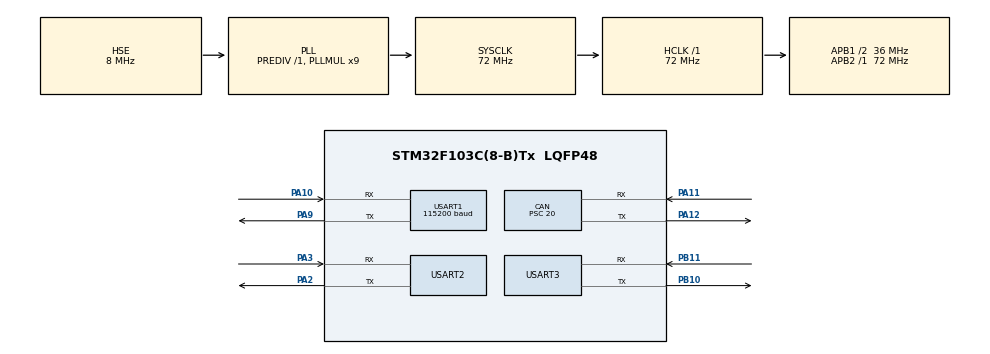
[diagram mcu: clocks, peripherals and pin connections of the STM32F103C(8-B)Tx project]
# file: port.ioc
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CAN.BS1=CAN_BS1_4TQ
CAN.BS2=CAN_BS2_4TQ
CAN.CalculateBaudRate=200000
CAN.CalculateTimeBit=5000
CAN.CalculateTimeQuantum=555.5555555555555
CAN.Mode=CAN_MODE_NORMAL
CAN.Prescaler=20
Dma.Request0=USART1_RX
Dma.Request1=USART2_RX
Dma.Request2=USART3_RX
Dma.USART1_RX.0.Direction=DMA_PERIPH_TO_MEMORY
Dma.USART1_RX.0.Instance=DMA1_Channel5
Dma.USART1_RX.0.MemDataAlignment=DMA_MDATAALIGN_BYTE
Dma.USART1_RX.0.MemInc=DMA_MINC_ENABLE
Dma.USART1_RX.0.Mode=DMA_NORMAL
Dma.USART1_RX.0.PeriphDataAlignment=DMA_PDATAALIGN_BYTE
Dma.USART1_RX.0.PeriphInc=DMA_PINC_DISABLE
Dma.USART1_RX.0.Priority=DMA_PRIORITY_LOW
Dma.USART2_RX.1.Direction=DMA_PERIPH_TO_MEMORY
Dma.USART2_RX.1.Instance=DMA1_Channel6
Dma.USART2_RX.1.MemDataAlignment=DMA_MDATAALIGN_BYTE
Dma.USART2_RX.1.MemInc=DMA_MINC_ENABLE
Dma.USART2_RX.1.Mode=DMA_NORMAL
Dma.USART2_RX.1.PeriphDataAlignment=DMA_PDATAALIGN_BYTE
Dma.USART2_RX.1.PeriphInc=DMA_PINC_DISABLE
Dma.USART2_RX.1.Priority=DMA_PRIORITY_LOW
Dma.USART3_RX.2.Direction=DMA_PERIPH_TO_MEMORY
Dma.USART3_RX.2.Instance=DMA1_Channel3
Dma.USART3_RX.2.MemDataAlignment=DMA_MDATAALIGN_BYTE
Dma.USART3_RX.2.MemInc=DMA_MINC_ENABLE
Dma.USART3_RX.2.Mode=DMA_NORMAL
Dma.USART3_RX.2.PeriphDataAlignment=DMA_PDATAALIGN_BYTE
Dma.USART3_RX.2.PeriphInc=DMA_PINC_DISABLE
Dma.USART3_RX.2.Priority=DMA_PRIORITY_LOW
Mcu.Family=STM32F1
Mcu.Name=STM32F103C(8-B)Tx
Mcu.Package=LQFP48
NVIC.DMA1_Channel3_IRQn=true\:0\:0\:false\:false\:true\:false\:true\:true
NVIC.DMA1_Channel5_IRQn=true\:0\:0\:false\:false\:true\:false\:true\:true
NVIC.DMA1_Channel6_IRQn=true\:0\:0\:false\:false\:true\:false\:true\:true
NVIC.PriorityGroup=NVIC_PRIORITYGROUP_4
NVIC.TIM3_IRQn=true\:0\:0\:false\:false\:true\:true\:true\:true
NVIC.USART1_IRQn=true\:0\:0\:false\:false\:true\:true\:true\:true
NVIC.USART2_IRQn=true\:0\:0\:false\:false\:true\:true\:true\:true
NVIC.USART3_IRQn=true\:0\:0\:false\:false\:true\:true\:true\:true
NVIC.USB_LP_CAN1_RX0_IRQn=true\:0\:0\:false\:false\:true\:true\:true\:true
PA10.Mode=Asynchronous
PA10.Signal=USART1_RX
PA11.GPIO_PuPd=GPIO_PULLUP
PA11.Mode=CAN_Activate
PA11.Signal=CAN_RX
PA12.Mode=CAN_Activate
PA12.Signal=CAN_TX
PA13.Mode=Trace_Asynchronous_SW
PA13.Signal=SYS_JTMS-SWDIO
PA14.Mode=Trace_Asynchronous_SW
PA14.Signal=SYS_JTCK-SWCLK
PA2.Mode=Asynchronous
PA2.Signal=USART2_TX
PA3.Mode=Asynchronous
PA3.Signal=USART2_RX
PA9.Mode=Asynchronous
PA9.Signal=USART1_TX
PB10.Mode=Asynchronous
PB10.Signal=USART3_TX
PB11.Mode=Asynchronous
PB11.Signal=USART3_RX
PB3.Mode=Trace_Asynchronous_SW
PB3.Signal=SYS_JTDO-TRACESWO
PC14-OSC32_IN.Mode=LSE-External-Oscillator
PC14-OSC32_IN.Signal=RCC_OSC32_IN
PC15-OSC32_OUT.Mode=LSE-External-Oscillator
PC15-OSC32_OUT.Signal=RCC_OSC32_OUT
PD0-OSC_IN.Mode=HSE-External-Oscillator
PD0-OSC_IN.Signal=RCC_OSC_IN
PD1-OSC_OUT.Mode=HSE-External-Oscillator
PD1-OSC_OUT.Signal=RCC_OSC_OUT
ProjectManager.HeapSize=0x200
ProjectManager.StackSize=0x400
ProjectManager.TargetToolchain=MDK-ARM V5
RCC.AHBFreq_Value=72000000
RCC.APB1CLKDivider=RCC_HCLK_DIV2
RCC.APB1Freq_Value=36000000
RCC.APB1TimFreq_Value=72000000
RCC.APB2Freq_Value=72000000
RCC.APB2TimFreq_Value=72000000
RCC.HCLKFreq_Value=72000000
RCC.PLLMUL=RCC_PLL_MUL9
RCC.PLLSourceVirtual=RCC_PLLSOURCE_HSE
RCC.SYSCLKFreq_VALUE=72000000
RCC.SYSCLKSource=RCC_SYSCLKSOURCE_PLLCLK
RCC.USBFreq_Value=72000000
TIM3.Period=1000
TIM3.Prescaler=72
USART1.BaudRate=115200
USART1.VirtualMode=VM_ASYNC
USART2.VirtualMode=VM_ASYNC
USART3.VirtualMode=VM_ASYNC
VP_TIM3_VS_ClockSourceINT.Mode=Internal
board=custom

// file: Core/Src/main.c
/* USER CODE BEGIN Header */
/**
  ******************************************************************************
  * @file           : main.c
  * @brief          : Main program body
  ******************************************************************************
  * @attention
  *
  * Copyright (c) 2026 STMicroelectronics.
  * All rights reserved.
  *
  * This software is licensed under terms that can be found in the LICENSE file
  * in the root directory of this software component.
  * If no LICENSE file comes with this software, it is provided AS-IS.
  *
  ******************************************************************************
  */
/* USER CODE END Header */
#include "main.h"

/* USER CODE BEGIN Includes */
#include "stdio.h"
#include "stdlib.h"
#include "math.h"
#include "sonar.h"
/* USER CODE END Includes */

CAN_HandleTypeDef hcan;

TIM_HandleTypeDef htim3;

UART_HandleTypeDef huart1;
UART_HandleTypeDef huart2;
UART_HandleTypeDef huart3;
DMA_HandleTypeDef hdma_usart1_rx;
DMA_HandleTypeDef hdma_usart2_rx;
DMA_HandleTypeDef hdma_usart3_rx;

void SystemClock_Config(void);
static void MX_GPIO_Init(void);
static void MX_DMA_Init(void);
static void MX_CAN_Init(void);
static void MX_USART1_UART_Init(void);
static void MX_USART2_UART_Init(void);
static void MX_USART3_UART_Init(void);
static void MX_TIM3_Init(void);

/* USER CODE BEGIN 0 */

#define uart2_buffer_size 64
uint8_t uart2_rx_buffer[uart2_buffer_size]={0};
#define uart3_buffer_size 64
uint8_t uart3_rx_buffer[uart3_buffer_size]={0};
void UART2_IT(void)
{
    // ????
    if (__HAL_UART_GET_FLAG(&huart2, UART_FLAG_IDLE))
    {
        __HAL_UART_CLEAR_IDLEFLAG(&huart2);
        // ? DMA,???
        HAL_UART_DMAStop(&huart2);
        uint16_t len = uart2_buffer_size- __HAL_DMA_GET_COUNTER(huart2.hdmarx);
				{
				/*for(int i=0;i<len;i++)
					{
						printf("%#x\n",uart2_rx_buffer[i]);
					}
					*/

				}
				//uint8_t data[7]={0x01,0x6a,0x07,0x01,0xff,0x3f,0xb1};
				//HAL_UART_Transmit(&huart2,data,7,0xff);
      __HAL_UART_ENABLE_IT(&huart2, UART_IT_IDLE);
      HAL_UART_Receive_DMA(&huart2, uart2_rx_buffer, uart2_buffer_size);
    }
}
void UART3_IT(void)
{
    // ????
    if (__HAL_UART_GET_FLAG(&huart3, UART_FLAG_IDLE))
    {
        __HAL_UART_CLEAR_IDLEFLAG(&huart3);
        // ? DMA,???
        HAL_UART_DMAStop(&huart3);
        uint16_t len = uart3_buffer_size- __HAL_DMA_GET_COUNTER(huart3.hdmarx);
				{
				for(int i=0;i<len;i++)
					{
						printf("%#x\n",uart3_rx_buffer[i]);
					}

				}
				uint8_t data[7]={0x01,0x6a,0x07,0x01,0xff,0x3f,0xb1};
				//HAL_UART_Transmit(&huart3,data,7,0xff);
      __HAL_UART_ENABLE_IT(&huart3, UART_IT_IDLE);
      HAL_UART_Receive_DMA(&huart3, uart3_rx_buffer, uart3_buffer_size);
    }
}
int fputc(int ch,FILE*f)
{
  HAL_UART_Transmit(&huart1,(uint8_t*)&ch,1,0xff);
  return ch;
}
int fgetc(FILE *f)
{
  char ch;
  HAL_UART_Receive(&huart1,(uint8_t*)&ch,1,0xff);
  return((int)ch);
}

void HAL_TIM_PeriodElapsedCallback(TIM_HandleTypeDef *htim)
{
if(htim->Instance==TIM3)
{

}

}

void can_init()
{
	CAN_FilterTypeDef filter;
	filter.FilterActivation=ENABLE;
	filter.FilterBank=1;
	filter.FilterFIFOAssignment=CAN_FILTER_FIFO0;
	filter.FilterIdHigh=0;
	filter.FilterIdLow=0;
	filter.FilterMaskIdHigh=0;
	filter.FilterMaskIdLow=0;
	filter.FilterMode=CAN_FILTERMODE_IDMASK;
	filter.FilterScale=CAN_FILTERSCALE_32BIT;

	HAL_CAN_ConfigFilter(&hcan,&filter);
	HAL_CAN_ActivateNotification(&hcan,CAN_IT_RX_FIFO0_MSG_PENDING);
	HAL_CAN_Start(&hcan);
}
uint32_t can_mailbox;
void can_send(int id,uint8_t*data,int len)
{
	CAN_TxHeaderTypeDef tx;
	tx.StdId=id;
	tx.ExtId=id;
	tx.DLC=len;
	tx.RTR=CAN_RTR_DATA;
	tx.IDE=CAN_ID_STD;

	if(HAL_CAN_AddTxMessage(&hcan,&tx,data,&can_mailbox)!=HAL_OK)
	{
	Error_Handler();
	};

}
//uint8_t can_buffer[16];
//void HAL_CAN_RxFifo0MsgPendingCallback(CAN_HandleTypeDef *hcan)
//{
//	CAN_RxHeaderTypeDef rx;
//HAL_CAN_GetRxMessage(hcan,CAN_RX_FIFO0,&rx,can_buffer);
//	if(rx.StdId==0x01)
//	{
//	uint8_t pack4[8]={0x01,0x6a,0x07,0x01,0xff,0x3e,0xb0};
//	HAL_UART_Transmit(&huart2,pack4,7,0xff);
//	}
//	if(rx.StdId==0x02)
//	{
//
//	uint8_t pack4[8]={0x01,0x6a,0x07,0x01,0xff,0x3e,0xb0};
//	HAL_UART_Transmit(&huart3,pack4,7,0xff);
//	}
//
//}
uint8_t can_buffer[16];
typedef struct
{
  int head;
  int bits;
} control_pack;
control_pack pack;
int sona_byte=0;
void HAL_CAN_RxFifo0MsgPendingCallback(CAN_HandleTypeDef *hcan)
{
	CAN_RxHeaderTypeDef rx;
HAL_CAN_GetRxMessage(hcan,CAN_RX_FIFO0,&rx,can_buffer);
	if(rx.StdId==0x410)
	{
		uint8_t*p=(uint8_t*)&pack;
	for(int i=0;i<8;i++)
	{
		p[i]=can_buffer[i];
	}
	sona_byte=pack.bits;
	//uint8_t pack4[8]={0x01,0x6a,0x07,0x01,0xff,0x3e,0xb0};
	//HAL_UART_Transmit(&huart2,pack4,7,0xff);
	}

}
/* USER CODE END 0 */

int main(void)
{

  /* MCU Configuration--------------------------------------------------------*/

  /* Reset of all peripherals, Initializes the Flash interface and the Systick. */
  HAL_Init();

  /* Configure the system clock */
  SystemClock_Config();

  /* Initialize all configured peripherals */
  MX_GPIO_Init();
  MX_DMA_Init();
  MX_CAN_Init();
  MX_USART1_UART_Init();
  MX_USART2_UART_Init();
  MX_USART3_UART_Init();
  MX_TIM3_Init();
  /* USER CODE BEGIN 2 */

			{
		HAL_UART_Receive_DMA(&huart2, uart2_rx_buffer,uart2_buffer_size);
    __HAL_UART_ENABLE_IT(&huart2, UART_IT_IDLE);
				HAL_UART_Receive_DMA(&huart3, uart3_rx_buffer,uart3_buffer_size);
    __HAL_UART_ENABLE_IT(&huart3, UART_IT_IDLE);
		}
		//uint8_t pack[8]={0xff,0x06,0x02,0x3c,0x00,0x04,0x5c,0x63}; 4bits
		uint8_t pack[8]={0xff,0x06,0x02,0x3c,0x00,0x08,0x5c,0x66}; //8bits
		//uint8_t pack1[8]={0x01,0x06,0x02,0x3f,0x00,0x01,0x79,0xbe};
				uint8_t pack1[8]={0x01,0x06,0x02,0x3f,0x00,0x00,0xb8,0x7e};
		//uint8_t pack2[8]={0x01,0x6c,0x07,0x01,0xff,0x01,0x75};
		uint8_t pack3[8]={0x01,0x03,0x02,0x01,0x00,0x01,0xd4,0x72};
		//uint8_t pack4[8]={0x01,0x6a,0x07,0x01,0xff,0x3f,0xb1};
		//uint8_t msg[8]={0xff,0x06,0x02,0x3d,0x00,0x00,0x0c,0x60};
		HAL_UART_Transmit(&huart2,pack,8,0xff);
		HAL_Delay(10);
 		HAL_UART_Transmit(&huart3,pack,8,0xff);
		HAL_Delay(10);
		can_init();////uart3为旧换能器
while(1)
{
	//uint8_t data[8]={0xfa};
	//can_send(0x01,data,8);
//HAL_UART_Transmit(&huart2,pack4,7,0xff);
//uint8_t pack4[8]={0x01,0x6a,0x07,0x01,0xff,0x3f,0xb1};
//HAL_UART_Transmit(&huart3,pack4,7,0xff);
//HAL_UART_Transmit(&huart2,pack4,7,0xff);
	uint8_t pack4[7]={0x01,0x6a,0x07,0x01,0xff,0x3f,0xb1};
	pack4[5]=(uint8_t)((sona_byte>>8)&0xff);
	uint8_t sum=0;
	for(int i=0;i<6;i++)
	{
	sum+=pack4[i];
	}
	pack4[6]=(uint8_t)sum&0xff;
	HAL_UART_Transmit(&huart2,pack4,7,0xff);
	HAL_Delay(1000);
	HAL_UART_Transmit(&huart3,pack4,7,0xff);
			//HAL_UART_Receive_IT(&huart2,uart2_rx_buffer,11);
	HAL_Delay(1000);
};

uint8_t data[8]={0x01,0x02,0x03};

//printf("hello\n");

  /* USER CODE END 2 */

  /* Infinite loop */
  /* USER CODE BEGIN WHILE */
  while (1)
  {
		can_send(0x100,data,8);
		HAL_Delay(100);
    /* USER CODE END WHILE */

  }
}

void SystemClock_Config(void)
{
  RCC_OscInitTypeDef RCC_OscInitStruct = {0};
  RCC_ClkInitTypeDef RCC_ClkInitStruct = {0};

  /** Initializes the RCC Oscillators according to the specified parameters
  * in the RCC_OscInitTypeDef structure.
  */
  RCC_OscInitStruct.OscillatorType = RCC_OSCILLATORTYPE_HSE;
  RCC_OscInitStruct.HSEState = RCC_HSE_ON;
  RCC_OscInitStruct.HSEPredivValue = RCC_HSE_PREDIV_DIV1;
  RCC_OscInitStruct.HSIState = RCC_HSI_ON;
  RCC_OscInitStruct.PLL.PLLState = RCC_PLL_ON;
  RCC_OscInitStruct.PLL.PLLSource = RCC_PLLSOURCE_HSE;
  RCC_OscInitStruct.PLL.PLLMUL = RCC_PLL_MUL9;
  if (HAL_RCC_OscConfig(&RCC_OscInitStruct) != HAL_OK)
  {
    Error_Handler();
  }

  /** Initializes the CPU, AHB and APB buses clocks
  */
  RCC_ClkInitStruct.ClockType = RCC_CLOCKTYPE_HCLK|RCC_CLOCKTYPE_SYSCLK
                              |RCC_CLOCKTYPE_PCLK1|RCC_CLOCKTYPE_PCLK2;
  RCC_ClkInitStruct.SYSCLKSource = RCC_SYSCLKSOURCE_PLLCLK;
  RCC_ClkInitStruct.AHBCLKDivider = RCC_SYSCLK_DIV1;
  RCC_ClkInitStruct.APB1CLKDivider = RCC_HCLK_DIV2;
  RCC_ClkInitStruct.APB2CLKDivider = RCC_HCLK_DIV1;

  if (HAL_RCC_ClockConfig(&RCC_ClkInitStruct, FLASH_LATENCY_2) != HAL_OK)
  {
    Error_Handler();
  }
}

static void MX_CAN_Init(void)
{

  hcan.Instance = CAN1;
  hcan.Init.Prescaler = 20;
  hcan.Init.Mode = CAN_MODE_NORMAL;
  hcan.Init.SyncJumpWidth = CAN_SJW_1TQ;
  hcan.Init.TimeSeg1 = CAN_BS1_4TQ;
  hcan.Init.TimeSeg2 = CAN_BS2_4TQ;
  hcan.Init.TimeTriggeredMode = DISABLE;
  hcan.Init.AutoBusOff = DISABLE;
  hcan.Init.AutoWakeUp = DISABLE;
  hcan.Init.AutoRetransmission = DISABLE;
  hcan.Init.ReceiveFifoLocked = DISABLE;
  hcan.Init.TransmitFifoPriority = DISABLE;
  if (HAL_CAN_Init(&hcan) != HAL_OK)
  {
    Error_Handler();
  }

}

static void MX_TIM3_Init(void)
{

  TIM_ClockConfigTypeDef sClockSourceConfig = {0};
  TIM_MasterConfigTypeDef sMasterConfig = {0};

  htim3.Instance = TIM3;
  htim3.Init.Prescaler = 72;
  htim3.Init.CounterMode = TIM_COUNTERMODE_UP;
  htim3.Init.Period = 1000;
  htim3.Init.ClockDivision = TIM_CLOCKDIVISION_DIV1;
  htim3.Init.AutoReloadPreload = TIM_AUTORELOAD_PRELOAD_DISABLE;
  if (HAL_TIM_Base_Init(&htim3) != HAL_OK)
  {
    Error_Handler();
  }
  sClockSourceConfig.ClockSource = TIM_CLOCKSOURCE_INTERNAL;
  if (HAL_TIM_ConfigClockSource(&htim3, &sClockSourceConfig) != HAL_OK)
  {
    Error_Handler();
  }
  sMasterConfig.MasterOutputTrigger = TIM_TRGO_RESET;
  sMasterConfig.MasterSlaveMode = TIM_MASTERSLAVEMODE_DISABLE;
  if (HAL_TIMEx_MasterConfigSynchronization(&htim3, &sMasterConfig) != HAL_OK)
  {
    Error_Handler();
  }

}

static void MX_USART1_UART_Init(void)
{

  huart1.Instance = USART1;
  huart1.Init.BaudRate = 115200;
  huart1.Init.WordLength = UART_WORDLENGTH_8B;
  huart1.Init.StopBits = UART_STOPBITS_1;
  huart1.Init.Parity = UART_PARITY_NONE;
  huart1.Init.Mode = UART_MODE_TX_RX;
  huart1.Init.HwFlowCtl = UART_HWCONTROL_NONE;
  huart1.Init.OverSampling = UART_OVERSAMPLING_16;
  if (HAL_UART_Init(&huart1) != HAL_OK)
  {
    Error_Handler();
  }

}

static void MX_USART2_UART_Init(void)
{

  huart2.Instance = USART2;
  huart2.Init.BaudRate = 115200;
  huart2.Init.WordLength = UART_WORDLENGTH_8B;
  huart2.Init.StopBits = UART_STOPBITS_1;
  huart2.Init.Parity = UART_PARITY_NONE;
  huart2.Init.Mode = UART_MODE_TX_RX;
  huart2.Init.HwFlowCtl = UART_HWCONTROL_NONE;
  huart2.Init.OverSampling = UART_OVERSAMPLING_16;
  if (HAL_UART_Init(&huart2) != HAL_OK)
  {
    Error_Handler();
  }

}

static void MX_USART3_UART_Init(void)
{

  huart3.Instance = USART3;
  huart3.Init.BaudRate = 115200;
  huart3.Init.WordLength = UART_WORDLENGTH_8B;
  huart3.Init.StopBits = UART_STOPBITS_1;
  huart3.Init.Parity = UART_PARITY_NONE;
  huart3.Init.Mode = UART_MODE_TX_RX;
  huart3.Init.HwFlowCtl = UART_HWCONTROL_NONE;
  huart3.Init.OverSampling = UART_OVERSAMPLING_16;
  if (HAL_UART_Init(&huart3) != HAL_OK)
  {
    Error_Handler();
  }

}

static void MX_DMA_Init(void)
{

  /* DMA controller clock enable */
  __HAL_RCC_DMA1_CLK_ENABLE();

  /* DMA interrupt init */
  /* DMA1_Channel3_IRQn interrupt configuration */
  HAL_NVIC_SetPriority(DMA1_Channel3_IRQn, 0, 0);
  HAL_NVIC_EnableIRQ(DMA1_Channel3_IRQn);
  /* DMA1_Channel5_IRQn interrupt configuration */
  HAL_NVIC_SetPriority(DMA1_Channel5_IRQn, 0, 0);
  HAL_NVIC_EnableIRQ(DMA1_Channel5_IRQn);
  /* DMA1_Channel6_IRQn interrupt configuration */
  HAL_NVIC_SetPriority(DMA1_Channel6_IRQn, 0, 0);
  HAL_NVIC_EnableIRQ(DMA1_Channel6_IRQn);

}

static void MX_GPIO_Init(void)
{

  /* GPIO Ports Clock Enable */
  __HAL_RCC_GPIOC_CLK_ENABLE();
  __HAL_RCC_GPIOD_CLK_ENABLE();
  __HAL_RCC_GPIOA_CLK_ENABLE();
  __HAL_RCC_GPIOB_CLK_ENABLE();

}

void Error_Handler(void)
{
  __disable_irq();
  while (1)
  {
  }
}
